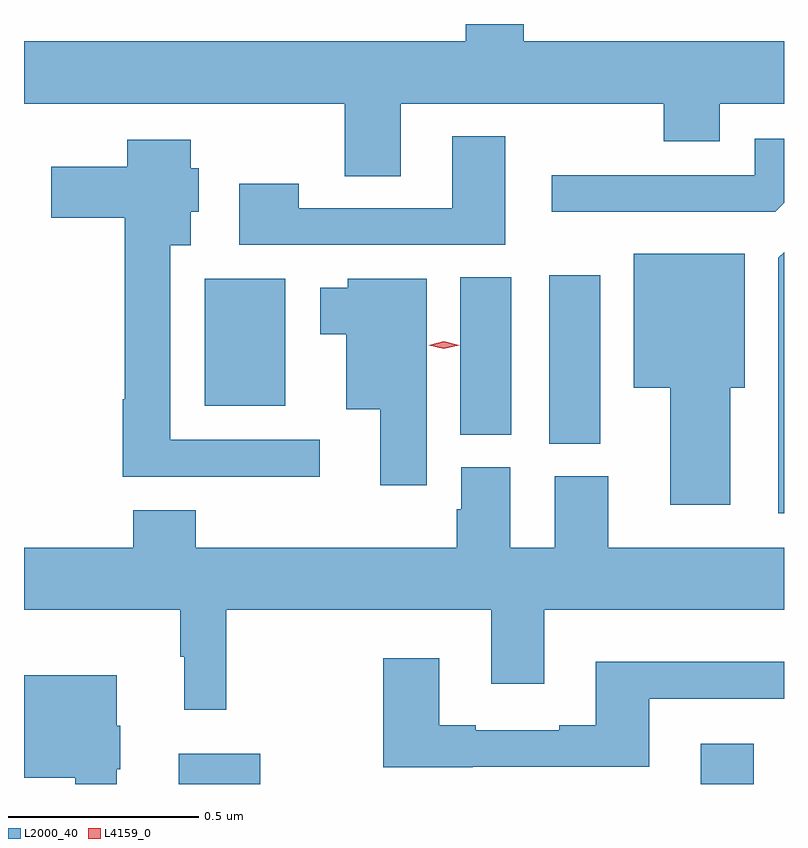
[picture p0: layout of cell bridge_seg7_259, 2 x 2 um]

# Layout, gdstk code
import gdstk
lib = gdstk.Library(unit=1e-6, precision=1e-09)
def R(c, l, rs):  # rectangles x0, y0, x1, y1
    for r in rs: c.add(gdstk.rectangle(r[:2], r[2:], *l))
def P(c, l, *ps):  # polygons
    for p in ps: c.add(gdstk.Polygon(p, *l))
L2000_40 = (2000, 40)
L4159_0 = (4159, 0)

bridge_seg7_259 = lib.new_cell('bridge_seg7_259')
R(bridge_seg7_259, L2000_40, [(174.821,1078.746,175.036,1078.825), (176.195,1078.746,176.335,1078.852), (175.796,1079.641,175.93,1080.085), (175.562,1079.665,175.696,1080.08), (174.89,1079.741,175.102,1080.076)])
P(bridge_seg7_259, L2000_40, [(175.405,1080.536),(176.098,1080.536),(176.098,1080.437),(176.245,1080.437),(176.245,1080.536),(176.414,1080.536),(176.414,1080.7),(175.729,1080.7),(175.729,1080.746),(175.577,1080.746),(175.577,1080.7),(174.414,1080.7),(174.414,1080.536),(175.258,1080.536),(175.258,1080.346),(175.405,1080.346)],
  [(175.681,1080.451),(175.541,1080.451),(175.541,1080.261),(175.137,1080.261),(175.137,1080.325),(174.981,1080.325),(174.981,1080.165),(175.681,1080.165)],
  [(176.414,1080.275),(176.414,1080.444),(176.337,1080.444),(176.337,1080.348),(175.803,1080.348),(175.803,1080.252),(176.391,1080.252)],
  [(175.192,1079.652),(174.799,1079.652),(174.799,1080.164),(174.853,1080.164),(174.853,1080.252),(174.874,1080.252),(174.874,1080.366),(174.853,1080.366),(174.853,1080.442),(174.686,1080.442),(174.686,1080.37),(174.486,1080.37),(174.486,1080.236),(174.679,1080.236),(174.679,1079.759),(174.674,1079.759),(174.674,1079.555),(175.192,1079.555)],
  [(176.414,1080.146),(176.399,1080.131),(176.399,1079.459),(176.414,1079.459)],
  [(176.272,1079.789),(176.311,1079.789),(176.311,1080.142),(176.018,1080.142),(176.018,1079.789),(176.114,1079.789),(176.114,1079.481),(176.272,1079.481)],
  [(175.474,1080.076),(175.266,1080.076),(175.266,1080.052),(175.193,1080.052),(175.193,1079.93),(175.262,1079.93),(175.262,1079.732),(175.352,1079.732),(175.352,1079.532),(175.474,1079.532)],
  [(174.946,1079.204),(175.643,1079.204),(175.643,1079.01),(175.783,1079.01),(175.783,1079.204),(176.414,1079.204),(176.414,1079.368),(175.951,1079.368),(175.951,1079.556),(175.811,1079.556),(175.811,1079.368),(175.693,1079.368),(175.693,1079.58),(175.565,1079.58),(175.565,1079.469),(175.553,1079.469),(175.553,1079.368),(174.866,1079.368),(174.866,1079.467),(174.701,1079.467),(174.701,1079.368),(174.414,1079.368),(174.414,1079.204),(174.825,1079.204),(174.825,1079.081),(174.836,1079.081),(174.836,1078.941),(174.946,1078.941)],
  [(175.595,1078.791),(176.059,1078.791),(176.059,1078.971),(176.414,1078.971),(176.414,1079.068),(175.919,1079.068),(175.919,1078.9),(175.823,1078.9),(175.823,1078.887),(175.603,1078.887),(175.603,1078.9),(175.507,1078.9),(175.507,1079.077),(175.36,1079.077),(175.36,1078.79),(175.595,1078.79)],
  [(174.658,1078.785),(174.667,1078.785),(174.667,1078.899),(174.658,1078.899),(174.658,1079.032),(174.414,1079.032),(174.414,1078.763),(174.549,1078.763),(174.549,1078.746),(174.658,1078.746)])
P(bridge_seg7_259, L4159_0, [(175.519,1079.891),(175.479,1079.901),(175.479,1079.901),(175.479,1079.901),(175.519,1079.911),(175.559,1079.9),(175.56,1079.9),(175.559,1079.9)])

lib.write_gds('bridge_seg7_259.gds')
